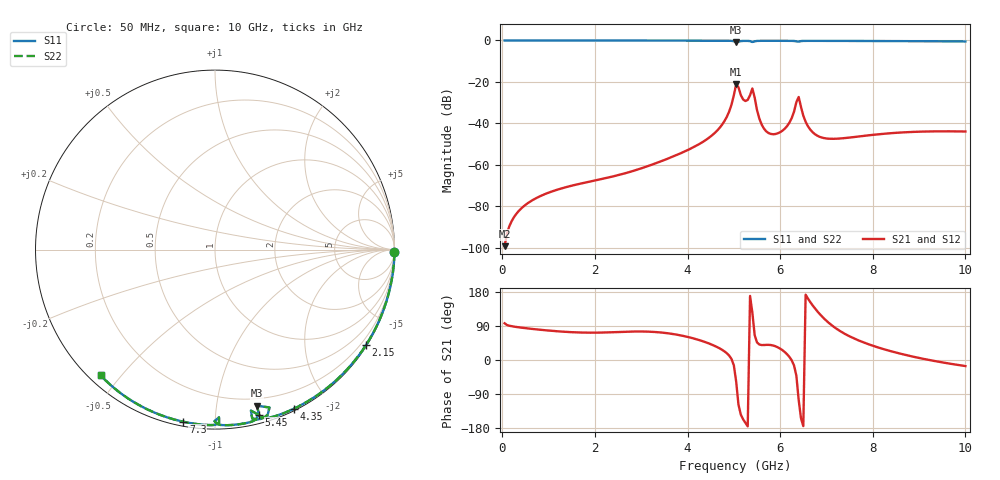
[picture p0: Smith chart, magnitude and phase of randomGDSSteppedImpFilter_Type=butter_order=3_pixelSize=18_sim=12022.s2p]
! freq	dB(S11)	phase(S11)	dB(S12)	phase(S12)
!  dB(S21)	phase(S21)	dB(S22)	phase(S22)
!S-par simulation data
#  GHz  S  DB  R 50
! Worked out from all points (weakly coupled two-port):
!   200 points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, 50 MHz to 10 GHz, reference 50 ohm
!   highest |S21| = -21.15 dB at 5.05 GHz (marker M1); lowest = -99.1 dB at 50 MHz (marker M2)
!   lowest |S11| = -0.9 dB at 5.05 GHz (marker M3), VSWR 19.07, Z = 7.05 - j64.7 ohm
!   |S11| at or under -10 dB: nowhere
!   |S22| runs from -0.9 to 0.0 dB; largest |S21 - S12| = 0
!   S11 on the Smith chart (normalised r, x): 50 MHz: open; 2.15 GHz: 0.03, -3.46; 4.35 GHz: 0.02, -1.61; 5.45 GHz: 0.07, -1.30; 7.3 GHz: 0.02, -0.83; 10 GHz: 0.03, -0.44
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0.05  -0.00 -0.8  -99.12 96.9  -99.12 96.9  -0.00 -0.8
0.45  -0.00 -6.9  -80.13 84.8  -80.13 84.8  -0.00 -6.9
1.75  -0.03 -26.4  -68.67 72.3  -68.67 72.3  -0.03 -26.4
2.15  -0.04 -32.3  -66.74 72.4  -66.74 72.4  -0.04 -32.3
3.4  -0.07 -50.3  -58.45 72.9  -58.45 72.9  -0.07 -50.3
4.35  -0.09 -63.7  -48.62 48.7  -48.62 48.7  -0.09 -63.7
4.8  -0.12 -70.4  -38.76 22.5  -38.76 22.5  -0.12 -70.4
4.95  -0.20 -73.5  -30.91 2.5  -30.91 2.5  -0.20 -73.5
5.05  -0.91 -75.0  -21.15 -56.6  -21.15 -56.6  -0.92 -75.0
5.2  -0.22 -73.7  -28.43 -156.6  -28.43 -156.6  -0.22 -73.7
5.3  -0.22 -76.2  -28.63 -175.1  -28.63 -175.1  -0.22 -76.2
5.4  -0.73 -77.4  -23.13 124.7  -23.13 124.7  -0.73 -77.4
5.45  -0.43 -75.2  -27.55 65.5  -27.55 65.5  -0.43 -75.2
5.6  -0.17 -78.6  -40.47 39.5  -40.47 39.5  -0.17 -78.6
5.75  -0.15 -80.9  -44.62 40.0  -44.62 40.0  -0.15 -80.9
6.15  -0.17 -86.7  -41.25 15.2  -41.25 15.2  -0.17 -86.7
6.4  -0.58 -88.6  -27.24 -105.2  -27.24 -105.2  -0.58 -88.6
6.55  -0.20 -90.6  -39.19 172.5  -39.19 172.5  -0.20 -90.6
6.7  -0.19 -92.8  -44.19 144.4  -44.19 144.4  -0.19 -92.8
7.3  -0.22 -100.4  -47.24 75.9  -47.24 75.9  -0.22 -100.4
8.35  -0.29 -113.0  -44.75 24.6  -44.75 24.6  -0.29 -113.0
10  -0.47 -132.3  -43.87 -16.0  -43.87 -16.0  -0.47 -132.3
